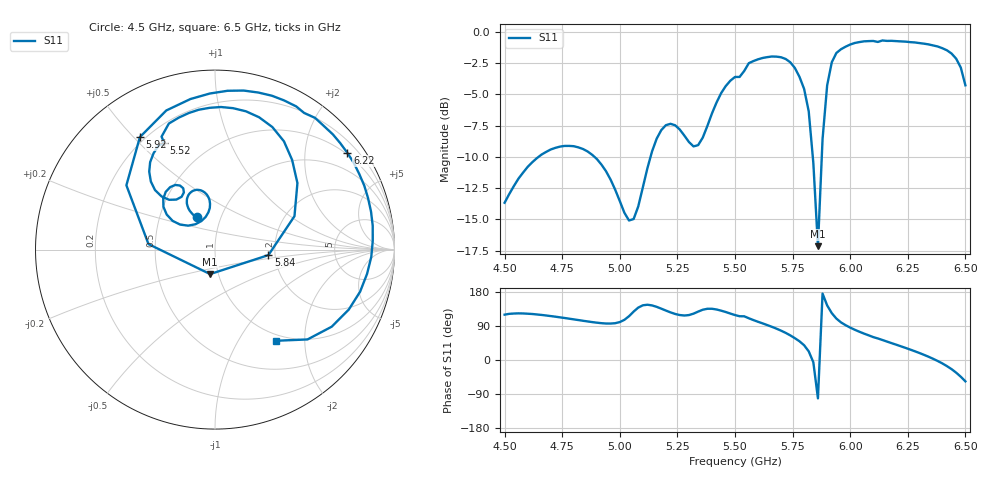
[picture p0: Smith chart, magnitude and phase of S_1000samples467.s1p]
! TOUCHSTONE file generated by CST MICROWAVE STUDIO
! Date and time: Fri Oct 28 06:34:05 2022
! Project name: L.cst
! Parameters = {Di=1.27; Epsilon_r=1.56; InnerDiameter=1.27; Length=2; Lf=10; Lg=60; OuterConductorThickness=0.2921; OuterDiameter=3.6; Wf=3; Wp=41.2; de=1.5; df=6.8; g=0.8; gx=1.78423; gy=0.555605; h=2.34; hf=1.524; px=14.6169; py=11.5497; w=9.7; wx=12.8327; wy=10.9941}
! Header version: 2018
! Port assignment regex: !\s*Touchstone port\s*([0-9]+)\s*=\s*(CST MWS port|CST DS port)\s*([0-9]+|Zmin|Zmax)\s*\(\"(.*)\"\)(\s*mode\s*([0-9]+))?.*
! Touchstone port assignment:
! Touchstone port 1 = CST MWS port 1 ("")
# GHz S DB R 50
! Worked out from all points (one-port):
!   101 points, 4.5 GHz to 6.5 GHz, reference 50 ohm
!   lowest |S11| = -17.1 dB at 5.86 GHz (marker M1), VSWR 1.32, Z = 45.7 - j12.7 ohm
!   |S11| at or under -10 dB: start of sweep to 4.647 GHz; 4.89 GHz to 5.133 GHz (243.5 MHz wide, 4.86 % of centre); 5.838 GHz to 5.877 GHz (39.05 MHz wide, 0.667 % of centre)
!   S11 on the Smith chart (normalised r, x): 4.5 GHz: 0.77, +0.29; 5.52 GHz: 0.28, +0.59; 5.84 GHz: 1.84, -0.12; 5.92 GHz: 0.18, +0.52; 6.22 GHz: 0.46, +3.00; 6.5 GHz: 0.90, -1.46
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4.5  -13.66 119.6
4.76  -9.13 110.9
4.9  -10.17 98.5
5  -13.53 100.1
5.06  -14.96 127.7
5.16  -8.55 140.3
5.26  -7.81 118.6
5.36  -8.47 132.7
5.44  -4.91 130.2
5.5  -3.62 118.6
5.52  -3.62 115.5
5.56  -2.52 110.1
5.66  -1.99 87.6
5.76  -2.91 57.5
5.82  -6.37 22.8
5.84  -10.48 -5.9
5.86  -17.13 -101.3
5.88  -8.59 175.3
5.9  -4.29 144.0
5.92  -2.46 123.7
5.94  -1.71 109.3
6  -1.04 85.5
6.1  -0.75 60.4
6.22  -0.79 36.1
6.26  -0.84 27.6
6.4  -1.33 -9.1
6.46  -2.17 -33.4
6.5  -4.29 -56.4
